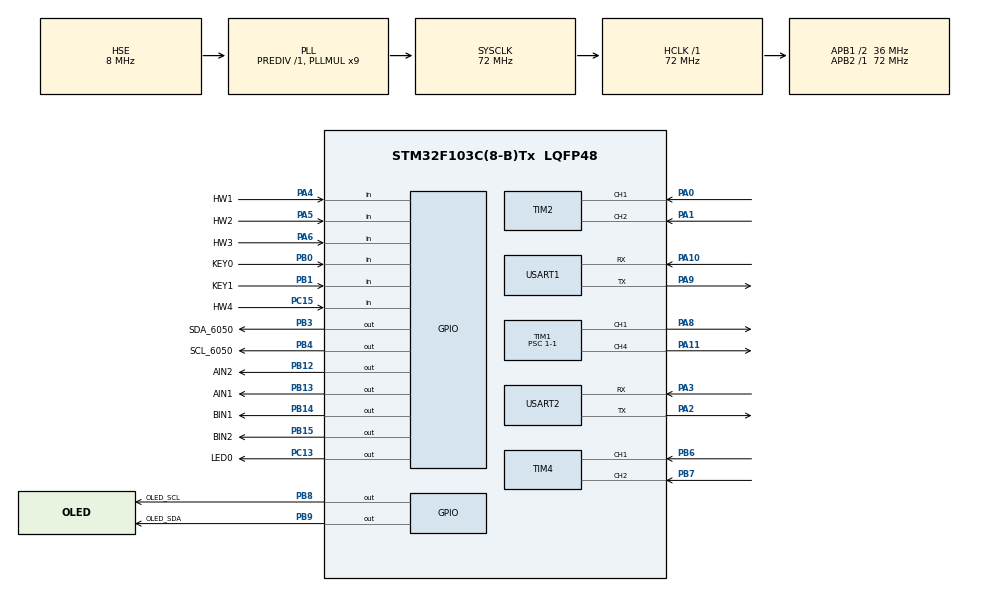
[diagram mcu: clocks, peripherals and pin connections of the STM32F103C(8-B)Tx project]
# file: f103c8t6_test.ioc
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Mcu.Family=STM32F1
Mcu.Name=STM32F103C(8-B)Tx
Mcu.Package=LQFP48
NVIC.PriorityGroup=NVIC_PRIORITYGROUP_2
NVIC.TIM2_IRQn=true\:3\:0\:true\:false\:true\:true\:true\:true
NVIC.TIM3_IRQn=true\:1\:0\:true\:false\:true\:true\:true\:true
NVIC.TIM4_IRQn=true\:3\:0\:true\:false\:true\:true\:true\:true
NVIC.USART1_IRQn=true\:2\:0\:true\:false\:true\:true\:true\:true
NVIC.USART2_IRQn=true\:1\:0\:true\:false\:true\:true\:true\:true
PA0-WKUP.GPIO_PuPd=GPIO_NOPULL
PA0-WKUP.Signal=S_TIM2_CH1_ETR
PA1.Signal=S_TIM2_CH2
PA10.Mode=Asynchronous
PA10.Signal=USART1_RX
PA11.Signal=S_TIM1_CH4
PA13.Mode=Serial_Wire
PA13.Signal=SYS_JTMS-SWDIO
PA14.Mode=Serial_Wire
PA14.Signal=SYS_JTCK-SWCLK
PA2.Mode=Asynchronous
PA2.Signal=USART2_TX
PA3.Mode=Asynchronous
PA3.Signal=USART2_RX
PA4.GPIO_Label=HW1
PA4.GPIO_PuPd=GPIO_NOPULL
PA4.Signal=GPIO_Input
PA5.GPIO_Label=HW2
PA5.Signal=GPIO_Input
PA6.GPIO_Label=HW3
PA6.Signal=GPIO_Input
PA8.Signal=S_TIM1_CH1
PA9.Mode=Asynchronous
PA9.Signal=USART1_TX
PB0.GPIO_Label=KEY0
PB0.GPIO_PuPd=GPIO_PULLUP
PB0.Signal=GPIO_Input
PB1.GPIO_Label=KEY1
PB1.GPIO_PuPd=GPIO_PULLUP
PB1.Signal=GPIO_Input
PB12.GPIO_Label=AIN2
PB12.Signal=GPIO_Output
PB13.GPIO_Label=AIN1
PB13.Signal=GPIO_Output
PB14.GPIO_Label=BIN1
PB14.Signal=GPIO_Output
PB15.GPIO_Label=BIN2
PB15.Signal=GPIO_Output
PB3.GPIO_Label=SDA_6050
PB3.PinState=GPIO_PIN_SET
PB3.Signal=GPIO_Output
PB4.GPIO_Label=SCL_6050
PB4.PinState=GPIO_PIN_SET
PB4.Signal=GPIO_Output
PB6.Signal=S_TIM4_CH1
PB7.Signal=S_TIM4_CH2
PB8.GPIO_Label=OLED_SCL
PB8.GPIO_ModeDefaultOutputPP=GPIO_MODE_OUTPUT_OD
PB8.GPIO_PuPd=GPIO_NOPULL
PB8.GPIO_Speed=GPIO_SPEED_FREQ_HIGH
PB8.PinState=GPIO_PIN_RESET
PB8.Signal=GPIO_Output
PB9.GPIO_Label=OLED_SDA
PB9.GPIO_ModeDefaultOutputPP=GPIO_MODE_OUTPUT_OD
PB9.GPIO_PuPd=GPIO_NOPULL
PB9.Signal=GPIO_Output
PC13-TAMPER-RTC.GPIO_Label=LED0
PC13-TAMPER-RTC.PinState=GPIO_PIN_SET
PC13-TAMPER-RTC.Signal=GPIO_Output
PC15-OSC32_OUT.GPIO_Label=HW4
PC15-OSC32_OUT.Signal=GPIO_Input
PD0-OSC_IN.Mode=HSE-External-Oscillator
PD0-OSC_IN.Signal=RCC_OSC_IN
PD1-OSC_OUT.Mode=HSE-External-Oscillator
PD1-OSC_OUT.Signal=RCC_OSC_OUT
ProjectManager.HeapSize=0x200
ProjectManager.StackSize=0x400
ProjectManager.TargetToolchain=MDK-ARM V5.32
RCC.AHBFreq_Value=72000000
RCC.APB1CLKDivider=RCC_HCLK_DIV2
RCC.APB1Freq_Value=36000000
RCC.APB1TimFreq_Value=72000000
RCC.APB2Freq_Value=72000000
RCC.APB2TimFreq_Value=72000000
RCC.HCLKFreq_Value=72000000
RCC.PLLMUL=RCC_PLL_MUL9
RCC.PLLSourceVirtual=RCC_PLLSOURCE_HSE
RCC.SYSCLKFreq_VALUE=72000000
RCC.SYSCLKSource=RCC_SYSCLKSOURCE_PLLCLK
RCC.USBFreq_Value=72000000
SH.S_TIM1_CH1.0=TIM1_CH1,PWM Generation1 CH1
SH.S_TIM1_CH4.0=TIM1_CH4,PWM Generation4 CH4
SH.S_TIM2_CH1_ETR.0=TIM2_CH1,Encoder_Interface
SH.S_TIM2_CH2.0=TIM2_CH2,Encoder_Interface
SH.S_TIM4_CH1.0=TIM4_CH1,Encoder_Interface
SH.S_TIM4_CH2.0=TIM4_CH2,Encoder_Interface
TIM1.AutoReloadPreload=TIM_AUTORELOAD_PRELOAD_ENABLE
TIM1.Channel-PWM\ Generation1\ CH1=TIM_CHANNEL_1
TIM1.Channel-PWM\ Generation4\ CH4=TIM_CHANNEL_4
TIM1.Period=7200-1
TIM1.Prescaler=1-1
TIM2.EncoderMode=TIM_ENCODERMODE_TI12
TIM3.Period=200-1
TIM3.Prescaler=7200-1
TIM4.EncoderMode=TIM_ENCODERMODE_TI12
USART1.VirtualMode=VM_ASYNC
USART2.VirtualMode=VM_ASYNC
VP_TIM3_VS_ClockSourceINT.Mode=Internal
board=custom

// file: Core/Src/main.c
/* USER CODE BEGIN Header */
/**
  ******************************************************************************
  * @file           : main.c
  * @brief          : Main program body
  ******************************************************************************
  * @attention
  *
  * Copyright (c) 2024 STMicroelectronics.
  * All rights reserved.
  *
  * This software is licensed under terms that can be found in the LICENSE file
  * in the root directory of this software component.
  * If no LICENSE file comes with this software, it is provided AS-IS.
  *
  ******************************************************************************
  */
/* USER CODE END Header */
#include "main.h"
#include "tim.h"
#include "usart.h"
#include "gpio.h"

/* USER CODE BEGIN Includes */
#include "oled.h"
#include "bmp.h"
#include "encoder.h"
#include "motor.h"
#include "pid.h"
#include "control.h"
#include "protocol.h"
//#include "mpu6050.h"
//#include "inv_mpu.h"
//#include "inv_mpu_dmp_motion_driver.h"
#include "jy61p.h"
#include "key.h"
#include "menu.h"
#include "line.h"

/* USER CODE END Includes */

/* USER CODE BEGIN PM */
uint8_t g_oledstring[50];//OLED显示
//float g_pitch_6050,g_roll_6050,g_yaw_6050; // MPU6050的俯仰角 横滚角 航向角
extern uint8_t g_usart2_receivedata;//串口2接收数据
uint8_t g_mode = 0;//小车运行模式

/* USER CODE END PM */

void SystemClock_Config(void);

int main(void)
{

  /* MCU Configuration--------------------------------------------------------*/

  /* Reset of all peripherals, Initializes the Flash interface and the Systick. */
  HAL_Init();

  /* Configure the system clock */
  SystemClock_Config();

  /* Initialize all configured peripherals */
  MX_GPIO_Init();
  MX_TIM1_Init();
  MX_TIM2_Init();
  MX_TIM4_Init();
  MX_TIM3_Init();
  MX_USART1_UART_Init();
  MX_USART2_UART_Init();
  /* USER CODE BEGIN 2 */

  HAL_TIM_Encoder_Start(&htim2,TIM_CHANNEL_ALL);//开启定时器2 编码器模式
  HAL_TIM_Encoder_Start(&htim4,TIM_CHANNEL_ALL);//开启定时器4 编码器模式
  HAL_TIM_Base_Start_IT(&htim2);                //开启定时器2 中断
  HAL_TIM_Base_Start_IT(&htim4);                //开启定时器4 中断

  set_motor1_enable();//使能电机
  set_motor2_enable();//使能电机

  HAL_TIM_PWM_Start(&htim1,TIM_CHANNEL_4);//开启定时器1 通道4 PWM输出
  HAL_TIM_PWM_Start(&htim1,TIM_CHANNEL_1);//开启定时器1 通道1 PWM输出

  HAL_TIM_Base_Start_IT(&htim3); //开启定时器3中断

  pid_param_init();//pid参数初始化

  __HAL_UART_ENABLE_IT(&huart1,UART_IT_RXNE);    //串口1接收中断，只开启接收中断，与上位机通信
  HAL_UART_Receive_IT(&huart2,&g_usart2_receivedata,1);  //串口2接收数据中断

  protocol_init();       //这个初始化了才能通过上位机控制呀, 再看这个注意事项

  OLED_Init(); //OLED初始化
  OLED_ColorTurn(0);//0正常显示，1 反色显示
  OLED_DisplayTurn(0);//0正常显示 1 屏幕翻转显示

  /* MPU6050初始化 */
//  HAL_Delay(500);//延时0.5秒 6050上电稳定后初始化
//  MPU_Init(); //初始化MPU6050
//  while(MPU_Init()!=0);
//  while(mpu_dmp_init()!=0);

  g_Line_Flag = 1;
  g_Angle_Flag = 1;

//    uint8_t key = 0;
//    uint16_t target_angle = 0;

  /* USER CODE END 2 */

  /* Infinite loop */
  /* USER CODE BEGIN WHILE */
  while (1)
  {
      receiving_process();//解析野火上位机通信协议,调试电机位置速度串级PID时用,不用时注释

//      /* 菜单测试 */
//      if(g_mode == 0)   //启动菜单选择
//      {
//          g_mode = menu_start_select();
//      }
//      else if(g_mode == 1)//巡线直行测试
//      {
//          g_Line_Flag = 1;
//      }
//      else if(g_mode == 2)//位置环测试
//      {
//          key = key_scan(0);
//           if (key)
//            {
//                switch (key)
//                {
//                    case KEY0_PRES:
//                        HAL_Delay(1000);//给出时间拿开手，防止干扰车子启动
//                         car_go(120);
//                        break;
//                    case KEY1_PRES:
//                        HAL_Delay(1000);//给出时间拿开手，防止干扰车子启动
//                        car_go(60);
//                        break;
//                }
//            }
//      }
//      else if(g_mode == 3)//位置环转弯测试
//      {
//           key = key_scan(0);
//           if (key)
//            {
//                switch (key)
//                {
//                    case KEY0_PRES:
//                        HAL_Delay(500);//给出时间拿开手，防止干扰车子启动
//                        car_spin(left_90);
//                        break;
//                    case KEY1_PRES:
//                        HAL_Delay(500);//给出时间拿开手，防止干扰车子启动
//                        car_spin(back_180);
//                        break;
//                }
//            }
//      }
//      else if(g_mode == 4)//角度环测试
//      {
//          g_Angle_Flag = 1;
//          key = key_scan(0);
//           if (key)
//            {
//                switch (key)
//                {
//                    case KEY0_PRES:
//                        HAL_Delay(500);//给出时间拿开手，防止干扰车子启动
//                        target_angle = target_angle+90;
//                        if(target_angle>360)target_angle = 0;
//                        set_pid_target(&g_pid_turn_angle,target_angle);
//                        break;
//                    case KEY1_PRES:
//                        HAL_Delay(500);//给出时间拿开手，防止干扰车子启动
//                        target_angle = target_angle+180;
//                        if(target_angle>360)target_angle = 0;
//                        set_pid_target(&g_pid_turn_angle,target_angle);
//                        break;
//                }
//            }
//      }
//     sprintf((char*)g_oledstring,"Yaw:%6.2f",g_yaw_jy61);//显示
//     OLED_ShowString(0,32,g_oledstring,16,1);//这个是oled驱动里面的，是显示位置的一个函数，
//     OLED_Refresh();

//      /* 查看jy901角度测试 */
//      sprintf((char*)g_oledstring,"Roll:%6.2f",g_roll_jy61);//显示
//      OLED_ShowString(0,0,g_oledstring,16,1);//这个是oled驱动里面的，是显示位置的一个函数，
//      sprintf((char*)g_oledstring,"Pitch:%6.2f",g_pitch_jy61);//显示
//      OLED_ShowString(0,16,g_oledstring,16,1);//这个是oled驱动里面的，是显示位置的一个函数，
//      sprintf((char*)g_oledstring,"Yaw:%6.2f",g_yaw_jy61);//显示
//      OLED_ShowString(0,32,g_oledstring,16,1);//这个是oled驱动里面的，是显示位置的一个函数，
//      OLED_Refresh();

//      /* 查看mpu6050角度测试 */
//      sprintf((char *)g_oledstring,"pitch:%.2f",g_pitch_6050);//显示6050数据
//      OLED_ShowString(0,0,g_oledstring,8,1);
//      sprintf((char *)g_oledstring,"roll:%.2f",g_roll_6050);//显示6050数据
//      OLED_ShowString(0,8,g_oledstring,8,1);
//      sprintf((char *)g_oledstring,"yaw:%.2f",g_yaw_6050);//显示6050数据
//      OLED_ShowString(0,16,g_oledstring,8,1);
//      OLED_Refresh();
//       //mpu_dmp_get_data(&pitch,&roll,&yaw);//返回值:0,DMP成功解出欧拉角
//      while(mpu_dmp_get_data(&g_pitch_6050,&g_roll_6050,&g_yaw_6050)!=0){}  //这个可以解决经常读不出数据的问题

//          /* 查看里程数测试 */
//      sprintf((char *)g_oledstring,"motor1:%d",g_sigma_motor1pluse);//显示单位时间脉冲数
//      OLED_ShowString(0,0,g_oledstring,8,1);  //显示在OLED上
//      sprintf((char *)g_oledstring,"jour1:%.2f",g_motor1_journey_cm);//显示总里程数
//      OLED_ShowString(0,8,g_oledstring,8,1);  //显示在OLED上
//
//      sprintf((char *)g_oledstring,"motor2:%d",g_sigma_motor2pluse);//显示单位时间脉冲数
//      OLED_ShowString(0,16,g_oledstring,8,1);  //显示在OLED上
//      sprintf((char *)g_oledstring,"jour2:%.2f",g_motor2_journey_cm);//显示总里程数
//      OLED_ShowString(0,24,g_oledstring,8,1);  //显示在OLED上
//
//      OLED_Refresh();

//      HAL_GPIO_TogglePin(LED0_GPIO_Port,LED0_Pin);
    /* USER CODE END WHILE */

  }
}

void SystemClock_Config(void)
{
  RCC_OscInitTypeDef RCC_OscInitStruct = {0};
  RCC_ClkInitTypeDef RCC_ClkInitStruct = {0};

  /** Initializes the RCC Oscillators according to the specified parameters
  * in the RCC_OscInitTypeDef structure.
  */
  RCC_OscInitStruct.OscillatorType = RCC_OSCILLATORTYPE_HSE;
  RCC_OscInitStruct.HSEState = RCC_HSE_ON;
  RCC_OscInitStruct.HSEPredivValue = RCC_HSE_PREDIV_DIV1;
  RCC_OscInitStruct.HSIState = RCC_HSI_ON;
  RCC_OscInitStruct.PLL.PLLState = RCC_PLL_ON;
  RCC_OscInitStruct.PLL.PLLSource = RCC_PLLSOURCE_HSE;
  RCC_OscInitStruct.PLL.PLLMUL = RCC_PLL_MUL9;
  if (HAL_RCC_OscConfig(&RCC_OscInitStruct) != HAL_OK)
  {
    Error_Handler();
  }

  /** Initializes the CPU, AHB and APB buses clocks
  */
  RCC_ClkInitStruct.ClockType = RCC_CLOCKTYPE_HCLK|RCC_CLOCKTYPE_SYSCLK
                              |RCC_CLOCKTYPE_PCLK1|RCC_CLOCKTYPE_PCLK2;
  RCC_ClkInitStruct.SYSCLKSource = RCC_SYSCLKSOURCE_PLLCLK;
  RCC_ClkInitStruct.AHBCLKDivider = RCC_SYSCLK_DIV1;
  RCC_ClkInitStruct.APB1CLKDivider = RCC_HCLK_DIV2;
  RCC_ClkInitStruct.APB2CLKDivider = RCC_HCLK_DIV1;

  if (HAL_RCC_ClockConfig(&RCC_ClkInitStruct, FLASH_LATENCY_2) != HAL_OK)
  {
    Error_Handler();
  }
}

void Error_Handler(void)
{
  __disable_irq();
  while (1)
  {
  }
}
